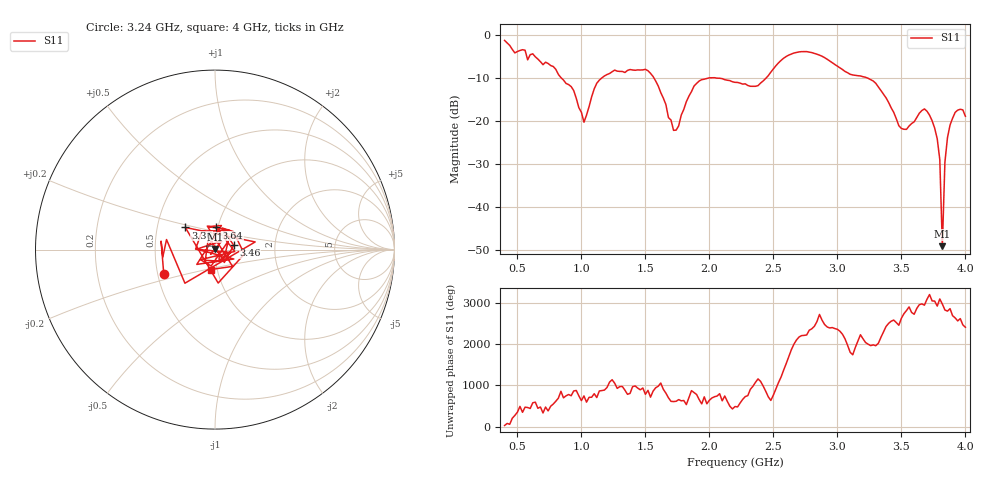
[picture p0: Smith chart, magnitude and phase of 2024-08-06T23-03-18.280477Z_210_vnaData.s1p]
!Created with skrf (http://scikit-rf.org).
# Hz S RI R 50.0
!freq ReS11 ImS11
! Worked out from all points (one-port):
!   181 points, 400 MHz to 4 GHz, reference 50 ohm
!   lowest |S11| = -49.1 dB at 3.82 GHz (marker M1), VSWR 1.01, Z = 49.9 + j0.342 ohm
!   |S11| at or under -10 dB: 1.568 GHz to 1.987 GHz (419.2 MHz wide, 23.6 % of centre); 2.08 GHz to 2.441 GHz (361.2 MHz wide, 16 % of centre); 3.239 GHz to end of sweep (the widest 3 of 4)
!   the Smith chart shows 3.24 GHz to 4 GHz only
!   S11 on the Smith chart (normalised r, x): 3.24 GHz: 0.54, -0.16; 3.36 GHz: 0.70, +0.18; 3.46 GHz: 1.23, +0.06; 3.64 GHz: 0.98, +0.25; 4 GHz: 0.93, -0.21
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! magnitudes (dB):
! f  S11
! 400 MHz  -1.2
! 860 MHz  -10.4
! 940 MHz  -12.9
! 1.02 GHz  -20.2
! 1.12 GHz  -11.2
! 1.3 GHz  -8.4
! 1.52 GHz  -8.3
! 1.6 GHz  -11.8
! 1.72 GHz  -22.1
! 1.76 GHz  -21.1
! 1.92 GHz  -10.6
! 2.2 GHz  -10.9
! 2.38 GHz  -11.7
! 2.66 GHz  -4.1
! 3.1 GHz  -9.1
! 3.24 GHz  -10.0
! 3.36 GHz  -13.7
! 3.46 GHz  -19.4
! 3.56 GHz  -21.1
! 3.64 GHz  -18.1
! 3.7 GHz  -17.7
! 3.78 GHz  -24.1
! 3.8 GHz  -28.9
! 3.82 GHz  -49.1
! 3.84 GHz  -29.5
! 3.86 GHz  -23.8
! 3.92 GHz  -18.0
! 4 GHz  -18.9
